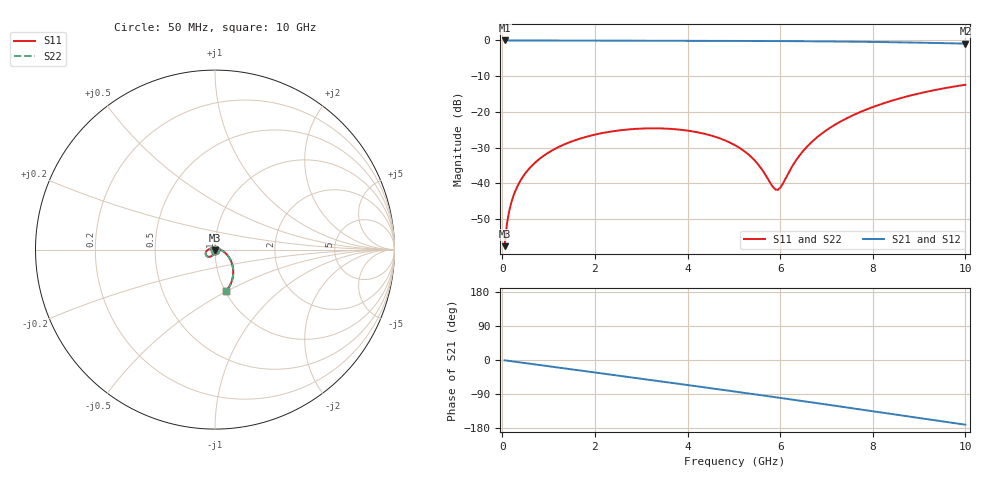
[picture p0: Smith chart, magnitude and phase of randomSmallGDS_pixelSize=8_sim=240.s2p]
! freq	dB(S11)	phase(S11)	dB(S12)	phase(S12)
!  dB(S21)	phase(S21)	dB(S22)	phase(S22)
!S-par simulation data
#  GHz  S  DB  R 50
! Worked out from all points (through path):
!   200 points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, 50 MHz to 10 GHz, reference 50 ohm
!   highest |S21| = 0.00 dB at 50 MHz (marker M1); lowest = -0.9 dB at 10 GHz (marker M2)
!   group delay of S21, straight-line fit = 47.4 ps
!   lowest |S11| = -57.6 dB at 50 MHz (marker M3), VSWR 1.00, Z = 50 - j0.131 ohm
!   |S11| at or under -10 dB: start of sweep to end of sweep
!   |S22| runs from -57.6 to -12.4 dB; largest |S21 - S12| = 0
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0.05  -57.63 -92.0  -0.00 -0.8  -0.00 -0.8  -57.63 -92.0
0.1  -51.40 -93.7  -0.00 -1.7  -0.00 -1.7  -51.39 -93.7
0.15  -47.74 -94.5  -0.00 -2.5  -0.00 -2.5  -47.74 -94.5
0.2  -45.18 -95.1  -0.00 -3.3  -0.00 -3.3  -45.17 -95.2
0.35  -40.26 -97.2  -0.00 -5.8  -0.00 -5.8  -40.26 -97.2
0.5  -37.18 -99.5  -0.01 -8.3  -0.01 -8.3  -37.18 -99.5
1  -31.39 -107.8  -0.02 -16.5  -0.02 -16.5  -31.39 -107.8
1.75  -27.22 -120.6  -0.04 -28.8  -0.04 -28.8  -27.22 -120.6
2.55  -25.16 -134.2  -0.06 -42.0  -0.06 -42.0  -25.16 -134.2
3.4  -24.63 -149.1  -0.08 -56.0  -0.08 -56.0  -24.63 -149.1
4.35  -26.10 -167.1  -0.10 -71.9  -0.10 -71.9  -26.10 -167.2
5.05  -29.53 176.2  -0.13 -83.7  -0.13 -83.7  -29.52 176.1
5.45  -33.62 160.5  -0.14 -90.5  -0.14 -90.5  -33.60 160.3
5.85  -41.15 109.3  -0.16 -97.4  -0.16 -97.4  -41.05 109.0
5.95  -41.84 78.2  -0.17 -99.1  -0.17 -99.1  -41.71 78.3
6.05  -40.31 48.9  -0.18 -100.8  -0.18 -100.8  -40.22 49.3
6.4  -32.54 6.3  -0.20 -106.9  -0.20 -106.9  -32.52 6.6
6.7  -28.22 -6.9  -0.23 -112.2  -0.23 -112.2  -28.21 -6.7
7.4  -22.05 -25.3  -0.31 -124.5  -0.31 -124.5  -22.04 -25.1
8.35  -17.12 -44.5  -0.47 -141.4  -0.47 -141.4  -17.12 -44.4
9.2  -14.27 -60.3  -0.67 -156.6  -0.67 -156.6  -14.26 -60.3
10  -12.41 -74.6  -0.88 -170.8  -0.88 -170.8  -12.41 -74.5
